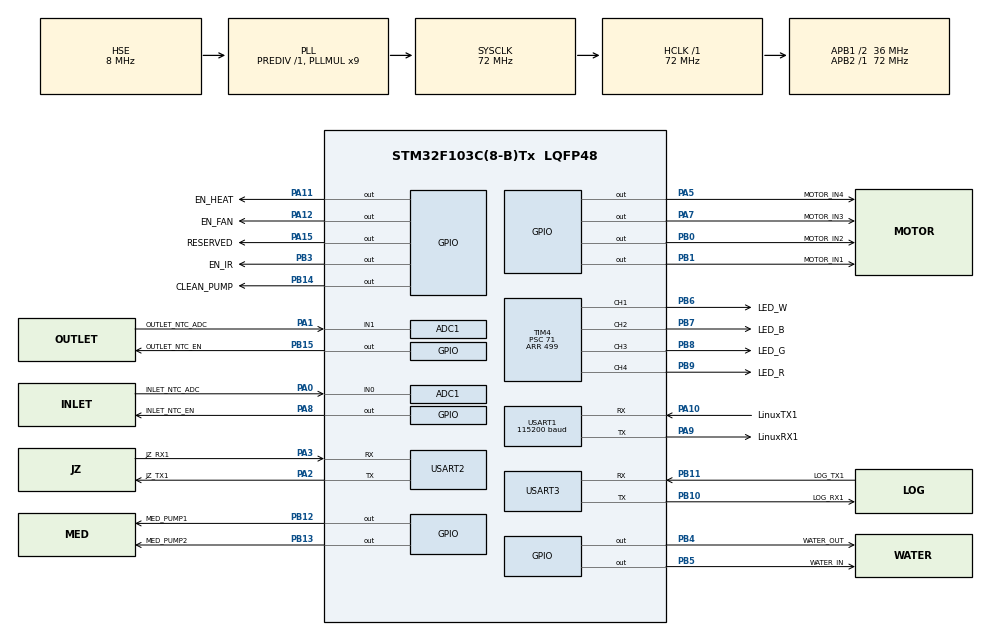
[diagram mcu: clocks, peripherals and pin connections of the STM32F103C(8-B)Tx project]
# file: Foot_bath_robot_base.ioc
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ADC1.Channel-0\#ChannelRegularConversion=ADC_CHANNEL_0
ADC1.Channel-1\#ChannelRegularConversion=ADC_CHANNEL_1
ADC1.ContinuousConvMode=ENABLE
ADC1.DataAlign=ADC_DATAALIGN_RIGHT
ADC1.NbrOfConversion=2
ADC1.NbrOfConversionFlag=1
ADC1.Rank-0\#ChannelRegularConversion=1
ADC1.Rank-1\#ChannelRegularConversion=2
ADC1.SamplingTime-0\#ChannelRegularConversion=ADC_SAMPLETIME_71CYCLES_5
ADC1.SamplingTime-1\#ChannelRegularConversion=ADC_SAMPLETIME_71CYCLES_5
ADC1.master=1
Dma.Request0=USART1_TX
Dma.Request1=USART2_TX
Dma.Request2=USART2_RX
Dma.Request3=USART3_TX
Dma.Request4=USART3_RX
Dma.Request5=ADC1
Dma.ADC1.5.Direction=DMA_PERIPH_TO_MEMORY
Dma.ADC1.5.Instance=DMA1_Channel1
Dma.ADC1.5.MemDataAlignment=DMA_MDATAALIGN_HALFWORD
Dma.ADC1.5.MemInc=DMA_MINC_ENABLE
Dma.ADC1.5.Mode=DMA_CIRCULAR
Dma.ADC1.5.PeriphDataAlignment=DMA_PDATAALIGN_HALFWORD
Dma.ADC1.5.PeriphInc=DMA_PINC_DISABLE
Dma.ADC1.5.Priority=DMA_PRIORITY_LOW
Dma.USART1_TX.0.Direction=DMA_MEMORY_TO_PERIPH
Dma.USART1_TX.0.Instance=DMA1_Channel4
Dma.USART1_TX.0.MemDataAlignment=DMA_MDATAALIGN_BYTE
Dma.USART1_TX.0.MemInc=DMA_MINC_ENABLE
Dma.USART1_TX.0.Mode=DMA_NORMAL
Dma.USART1_TX.0.PeriphDataAlignment=DMA_PDATAALIGN_BYTE
Dma.USART1_TX.0.PeriphInc=DMA_PINC_DISABLE
Dma.USART1_TX.0.Priority=DMA_PRIORITY_LOW
Dma.USART2_TX.1.Direction=DMA_MEMORY_TO_PERIPH
Dma.USART2_TX.1.Instance=DMA1_Channel7
Dma.USART2_TX.1.MemDataAlignment=DMA_MDATAALIGN_BYTE
Dma.USART2_TX.1.MemInc=DMA_MINC_ENABLE
Dma.USART2_TX.1.Mode=DMA_NORMAL
Dma.USART2_TX.1.PeriphDataAlignment=DMA_PDATAALIGN_BYTE
Dma.USART2_TX.1.PeriphInc=DMA_PINC_DISABLE
Dma.USART2_TX.1.Priority=DMA_PRIORITY_LOW
Dma.USART2_RX.2.Direction=DMA_PERIPH_TO_MEMORY
Dma.USART2_RX.2.Instance=DMA1_Channel6
Dma.USART2_RX.2.MemDataAlignment=DMA_MDATAALIGN_BYTE
Dma.USART2_RX.2.MemInc=DMA_MINC_ENABLE
Dma.USART2_RX.2.Mode=DMA_CIRCULAR
Dma.USART2_RX.2.PeriphDataAlignment=DMA_PDATAALIGN_BYTE
Dma.USART2_RX.2.PeriphInc=DMA_PINC_DISABLE
Dma.USART2_RX.2.Priority=DMA_PRIORITY_LOW
Dma.USART3_TX.3.Direction=DMA_MEMORY_TO_PERIPH
Dma.USART3_TX.3.Instance=DMA1_Channel2
Dma.USART3_TX.3.MemDataAlignment=DMA_MDATAALIGN_BYTE
Dma.USART3_TX.3.MemInc=DMA_MINC_ENABLE
Dma.USART3_TX.3.Mode=DMA_NORMAL
Dma.USART3_TX.3.PeriphDataAlignment=DMA_PDATAALIGN_BYTE
Dma.USART3_TX.3.PeriphInc=DMA_PINC_DISABLE
Dma.USART3_TX.3.Priority=DMA_PRIORITY_LOW
Dma.USART3_RX.4.Direction=DMA_PERIPH_TO_MEMORY
Dma.USART3_RX.4.Instance=DMA1_Channel3
Dma.USART3_RX.4.MemDataAlignment=DMA_MDATAALIGN_BYTE
Dma.USART3_RX.4.MemInc=DMA_MINC_ENABLE
Dma.USART3_RX.4.Mode=DMA_CIRCULAR
Dma.USART3_RX.4.PeriphDataAlignment=DMA_PDATAALIGN_BYTE
Dma.USART3_RX.4.PeriphInc=DMA_PINC_DISABLE
Dma.USART3_RX.4.Priority=DMA_PRIORITY_LOW
FREERTOS.Tasks01=BaseMotorTask,24,256,BaseMotor_Task,Default,NULL,Dynamic,NULL,NULL;BaseCommTask,24,256,BaseComm_Task,Default,NULL,Dynamic,NULL,NULL;BaseLogTask,8,512,BaseLog_Task,Default,NULL,Dynamic,NULL,NULL;BaseStateTask,40,256,BaseState_Task,Default,NULL,Dynamic,NULL,NULL
FREERTOS.configTOTAL_HEAP_SIZE=10240
Mcu.Family=STM32F1
Mcu.Name=STM32F103C(8-B)Tx
Mcu.Package=LQFP48
NVIC.DMA1_Channel1_IRQn=true\:6\:0\:true\:false\:true\:true\:false\:true\:true
NVIC.DMA1_Channel2_IRQn=true\:6\:0\:true\:false\:true\:true\:false\:true\:true
NVIC.DMA1_Channel3_IRQn=true\:6\:0\:true\:false\:true\:true\:false\:true\:true
NVIC.DMA1_Channel4_IRQn=true\:6\:0\:true\:false\:true\:true\:false\:true\:true
NVIC.DMA1_Channel6_IRQn=true\:6\:0\:true\:false\:true\:true\:false\:true\:true
NVIC.DMA1_Channel7_IRQn=true\:6\:0\:true\:false\:true\:true\:false\:true\:true
NVIC.PriorityGroup=NVIC_PRIORITYGROUP_4
NVIC.TIM2_IRQn=true\:15\:0\:false\:false\:true\:false\:false\:true\:true
NVIC.TIM3_IRQn=true\:6\:0\:true\:false\:true\:true\:true\:true\:true
NVIC.TimeBase=TIM2_IRQn
NVIC.TimeBaseIP=TIM2
NVIC.USART1_IRQn=true\:5\:0\:true\:false\:true\:true\:true\:true\:true
NVIC.USART2_IRQn=true\:5\:0\:true\:false\:true\:true\:true\:true\:true
NVIC.USART3_IRQn=true\:6\:0\:true\:false\:true\:true\:true\:true\:true
PA1.GPIO_Label=OUTLET_NTC_ADC
PA1.Signal=ADCx_IN1
PA0.GPIO_Label=INLET_NTC_ADC
PA0.Signal=ADCx_IN0
PA10.GPIO_Label=LinuxTX1
PA10.Mode=Asynchronous
PA10.Signal=USART1_RX
PA11.GPIO_Label=EN_HEAT
PA11.GPIO_Speed=GPIO_SPEED_FREQ_MEDIUM
PA11.Signal=GPIO_Output
PA12.GPIO_Label=EN_FAN
PA12.GPIO_Speed=GPIO_SPEED_FREQ_MEDIUM
PA12.Signal=GPIO_Output
PA13.Mode=Serial_Wire
PA13.Signal=SYS_JTMS-SWDIO
PA14.Mode=Serial_Wire
PA14.Signal=SYS_JTCK-SWCLK
PA15.GPIO_Label=RESERVED
PA15.GPIO_Speed=GPIO_SPEED_FREQ_MEDIUM
PA15.Signal=GPIO_Output
PA2.GPIO_Label=JZ_TX1
PA2.Mode=Asynchronous
PA2.Signal=USART2_TX
PA3.GPIO_Label=JZ_RX1
PA3.Mode=Asynchronous
PA3.Signal=USART2_RX
PA5.GPIO_Label=MOTOR_IN4
PA5.GPIO_Speed=GPIO_SPEED_FREQ_LOW
PA5.Signal=GPIO_Output
PA7.GPIO_Label=MOTOR_IN3
PA7.GPIO_Speed=GPIO_SPEED_FREQ_LOW
PA7.Signal=GPIO_Output
PA8.GPIO_Label=INLET_NTC_EN
PA8.GPIO_Speed=GPIO_SPEED_FREQ_MEDIUM
PA8.Signal=GPIO_Output
PA9.GPIO_Label=LinuxRX1
PA9.Mode=Asynchronous
PA9.Signal=USART1_TX
PB0.GPIO_Label=MOTOR_IN2
PB0.GPIO_Speed=GPIO_SPEED_FREQ_LOW
PB0.Signal=GPIO_Output
PB1.GPIO_Label=MOTOR_IN1
PB1.GPIO_Speed=GPIO_SPEED_FREQ_LOW
PB1.Signal=GPIO_Output
PB10.GPIO_Label=LOG_RX1
PB10.Mode=Asynchronous
PB10.Signal=USART3_TX
PB11.GPIO_Label=LOG_TX1
PB11.Mode=Asynchronous
PB11.Signal=USART3_RX
PB12.GPIO_Label=MED_PUMP1
PB12.GPIO_Speed=GPIO_SPEED_FREQ_MEDIUM
PB12.Signal=GPIO_Output
PB13.GPIO_Label=MED_PUMP2
PB13.GPIO_Speed=GPIO_SPEED_FREQ_MEDIUM
PB13.Signal=GPIO_Output
PB14.GPIO_Label=CLEAN_PUMP
PB14.GPIO_Speed=GPIO_SPEED_FREQ_MEDIUM
PB14.Signal=GPIO_Output
PB15.GPIO_Label=OUTLET_NTC_EN
PB15.GPIO_Speed=GPIO_SPEED_FREQ_MEDIUM
PB15.Signal=GPIO_Output
PB3.GPIO_Label=EN_IR
PB3.GPIO_Speed=GPIO_SPEED_FREQ_MEDIUM
PB3.Signal=GPIO_Output
PB4.GPIO_Label=WATER_OUT
PB4.GPIO_Speed=GPIO_SPEED_FREQ_MEDIUM
PB4.Signal=GPIO_Output
PB5.GPIO_Label=WATER_IN
PB5.GPIO_Speed=GPIO_SPEED_FREQ_MEDIUM
PB5.Signal=GPIO_Output
PB6.GPIO_Label=LED_W
PB6.Signal=S_TIM4_CH1
PB7.GPIO_Label=LED_B
PB7.Signal=S_TIM4_CH2
PB8.GPIO_Label=LED_G
PB8.Signal=S_TIM4_CH3
PB9.GPIO_Label=LED_R
PB9.Signal=S_TIM4_CH4
PD0-OSC_IN.Mode=HSE-External-Oscillator
PD0-OSC_IN.Signal=RCC_OSC_IN
PD1-OSC_OUT.Mode=HSE-External-Oscillator
PD1-OSC_OUT.Signal=RCC_OSC_OUT
ProjectManager.HeapSize=0x200
ProjectManager.StackSize=0x400
ProjectManager.TargetToolchain=MDK-ARM V5.32
RCC.ADCPresc=RCC_ADCPCLK2_DIV6
RCC.AHBFreq_Value=72000000
RCC.APB1CLKDivider=RCC_HCLK_DIV2
RCC.APB1Freq_Value=36000000
RCC.APB1TimFreq_Value=72000000
RCC.APB2Freq_Value=72000000
RCC.APB2TimFreq_Value=72000000
RCC.HCLKFreq_Value=72000000
RCC.PLLMUL=RCC_PLL_MUL9
RCC.PLLSourceVirtual=RCC_PLLSOURCE_HSE
RCC.SYSCLKFreq_VALUE=72000000
RCC.SYSCLKSource=RCC_SYSCLKSOURCE_PLLCLK
RCC.USBFreq_Value=72000000
SH.ADCx_IN0.0=ADC1_IN0,IN0
SH.ADCx_IN1.0=ADC1_IN1,IN1
SH.S_TIM4_CH1.0=TIM4_CH1,PWM Generation1 CH1
SH.S_TIM4_CH2.0=TIM4_CH2,PWM Generation2 CH2
SH.S_TIM4_CH3.0=TIM4_CH3,PWM Generation3 CH3
SH.S_TIM4_CH4.0=TIM4_CH4,PWM Generation4 CH4
TIM3.Period=2999
TIM3.Prescaler=71
TIM4.Channel-PWM\ Generation1\ CH1=TIM_CHANNEL_1
TIM4.Channel-PWM\ Generation2\ CH2=TIM_CHANNEL_2
TIM4.Channel-PWM\ Generation3\ CH3=TIM_CHANNEL_3
TIM4.Channel-PWM\ Generation4\ CH4=TIM_CHANNEL_4
TIM4.Period=499
TIM4.Prescaler=71
USART1.BaudRate=115200
USART1.VirtualMode=VM_ASYNC
USART2.VirtualMode=VM_ASYNC
USART3.VirtualMode=VM_ASYNC
VP_FREERTOS_VS_CMSIS_V2.Mode=CMSIS_V2
VP_SYS_VS_tim2.Mode=TIM2
board=custom

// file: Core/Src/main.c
/* USER CODE BEGIN Header */
/**
  ******************************************************************************
  * @file           : main.c
  * @brief          : Main program body
  ******************************************************************************
  * @attention
  *
  * Copyright (c) 2026 STMicroelectronics.
  * All rights reserved.
  *
  * This software is licensed under terms that can be found in the LICENSE file
  * in the root directory of this software component.
  * If no LICENSE file comes with this software, it is provided AS-IS.
  *
  ******************************************************************************
  */
/* USER CODE END Header */
/* 头文件 --------------------------------------------------------------------*/
#include "main.h"
#include "cmsis_os.h"
#include "adc.h"
#include "dma.h"
#include "tim.h"
#include "usart.h"
#include "gpio.h"

/* 私有头文件 ----------------------------------------------------------------*/
/* USER CODE BEGIN Includes */
#include "motor_control.h"

/* USER CODE END Includes */

/* 私有类型定义 --------------------------------------------------------------*/

/* 私有宏定义 ----------------------------------------------------------------*/

/* 私有宏 --------------------------------------------------------------------*/

/* 私有变量 ------------------------------------------------------------------*/

/* 私有函数声明 --------------------------------------------------------------*/
void SystemClock_Config(void);
void MX_FREERTOS_Init(void);

/* 私有用户代码 --------------------------------------------------------------*/

int main(void)
{

  /* MCU 配置 -----------------------------------------------------------------*/

  /* 复位全部外设，并初始化 Flash 接口和系统节拍。 */
  HAL_Init();

  /* USER CODE BEGIN Init */
	__HAL_AFIO_REMAP_SWJ_NOJTAG();
  /* USER CODE END Init */

  /* 配置系统时钟。 */
  SystemClock_Config();

  /* 初始化全部已配置外设。 */
  MX_GPIO_Init();
  MX_DMA_Init();
  MX_ADC1_Init();
  MX_USART1_UART_Init();
  MX_USART2_UART_Init();
  MX_USART3_UART_Init();
  MX_TIM3_Init();
  MX_TIM4_Init();

  /* Init scheduler */
  osKernelInitialize();  /* 初始化 CMSIS-RTOS2 内核对象。 */
  MX_FREERTOS_Init();

  /* 启动任务调度器。 */
  osKernelStart();

  /* 调度器启动后不应再执行到此处。 */

  /* 任务循环。 */
  while (1)
  {

  }
}

void SystemClock_Config(void)
{
  RCC_OscInitTypeDef RCC_OscInitStruct = {0};
  RCC_ClkInitTypeDef RCC_ClkInitStruct = {0};
  RCC_PeriphCLKInitTypeDef PeriphClkInit = {0};

  /** Initializes the RCC Oscillators according to the specified parameters
  * in the RCC_OscInitTypeDef structure.
  */
  RCC_OscInitStruct.OscillatorType = RCC_OSCILLATORTYPE_HSE;
  RCC_OscInitStruct.HSEState = RCC_HSE_ON;
  RCC_OscInitStruct.HSEPredivValue = RCC_HSE_PREDIV_DIV1;
  RCC_OscInitStruct.HSIState = RCC_HSI_ON;
  RCC_OscInitStruct.PLL.PLLState = RCC_PLL_ON;
  RCC_OscInitStruct.PLL.PLLSource = RCC_PLLSOURCE_HSE;
  RCC_OscInitStruct.PLL.PLLMUL = RCC_PLL_MUL9;
  if (HAL_RCC_OscConfig(&RCC_OscInitStruct) != HAL_OK)
  {
    Error_Handler();
  }

  /** Initializes the CPU, AHB and APB buses clocks
  */
  RCC_ClkInitStruct.ClockType = RCC_CLOCKTYPE_HCLK|RCC_CLOCKTYPE_SYSCLK
                              |RCC_CLOCKTYPE_PCLK1|RCC_CLOCKTYPE_PCLK2;
  RCC_ClkInitStruct.SYSCLKSource = RCC_SYSCLKSOURCE_PLLCLK;
  RCC_ClkInitStruct.AHBCLKDivider = RCC_SYSCLK_DIV1;
  RCC_ClkInitStruct.APB1CLKDivider = RCC_HCLK_DIV2;
  RCC_ClkInitStruct.APB2CLKDivider = RCC_HCLK_DIV1;

  if (HAL_RCC_ClockConfig(&RCC_ClkInitStruct, FLASH_LATENCY_2) != HAL_OK)
  {
    Error_Handler();
  }

  /* ADC1 时钟为 APB2 / 6 = 12 MHz，低于 STM32F103 的 14 MHz 上限。 */
  PeriphClkInit.PeriphClockSelection = RCC_PERIPHCLK_ADC;
  PeriphClkInit.AdcClockSelection = RCC_ADCPCLK2_DIV6;
  if (HAL_RCCEx_PeriphCLKConfig(&PeriphClkInit) != HAL_OK)
  {
    Error_Handler();
  }
}

void HAL_TIM_PeriodElapsedCallback(TIM_HandleTypeDef *htim)
{
  if (htim->Instance == TIM2)
  {
    HAL_IncTick();
  }
  /* USER CODE BEGIN Callback 1 */
  else if (htim->Instance == TIM3)
  {
    Motor_StepTimerElapsed();
  }

  /* USER CODE END Callback 1 */
}

void Error_Handler(void)
{
  /* USER CODE BEGIN Error_Handler_Debug */
  /* 用户可在此补充 HAL 错误状态的上报或保护处理。 */
  __disable_irq();
  while (1)
  {
  }
  /* USER CODE END Error_Handler_Debug */
}

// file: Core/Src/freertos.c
/* USER CODE BEGIN Header */
/**
  ******************************************************************************
  * File Name          : freertos.c
  * Description        : Code for freertos applications
  ******************************************************************************
  * @attention
  *
  * Copyright (c) 2026 STMicroelectronics.
  * All rights reserved.
  *
  * This software is licensed under terms that can be found in the LICENSE file
  * in the root directory of this software component.
  * If no LICENSE file comes with this software, it is provided AS-IS.
  *
  ******************************************************************************
  */
/* USER CODE END Header */

/* 头文件 --------------------------------------------------------------------*/
#include "FreeRTOS.h"
#include "task.h"
#include "main.h"
#include "cmsis_os.h"

/* 私有头文件 ----------------------------------------------------------------*/
/* USER CODE BEGIN Includes */
#include "color_light.h"
#include "motor_control.h"
#include "ntc_sensor.h"
#include "uart_comm.h"
#include "log.h"
#include "system_monitor.h"

/* USER CODE END Includes */

/* 私有类型定义 --------------------------------------------------------------*/

/* 私有宏定义 ----------------------------------------------------------------*/

/* 私有宏 --------------------------------------------------------------------*/

/* 私有变量 ------------------------------------------------------------------*/
/* Definitions for BaseMotorTask */
osThreadId_t BaseMotorTaskHandle;
const osThreadAttr_t BaseMotorTask_attributes = {
  .name = "BaseMotor",
  .stack_size = 256 * 4,
  .priority = (osPriority_t) osPriorityNormal,
};
/* Definitions for BaseCommTask */
osThreadId_t BaseCommTaskHandle;
const osThreadAttr_t BaseCommTask_attributes = {
  .name = "BaseComm",
  .stack_size = 256 * 4,
  .priority = (osPriority_t) osPriorityNormal,
};
/* Definitions for BaseLogTask */
osThreadId_t BaseLogTaskHandle;
const osThreadAttr_t BaseLogTask_attributes = {
  .name = "BaseLog",
  .stack_size = 512 * 4,
  .priority = (osPriority_t) osPriorityLow,
};
/* Definitions for BaseStateTask */
osThreadId_t BaseStateTaskHandle;
const osThreadAttr_t BaseStateTask_attributes = {
  .name = "BaseState",
  .stack_size = 256 * 4,
  .priority = (osPriority_t) osPriorityHigh,
};

/* 私有函数声明 --------------------------------------------------------------*/

void BaseMotor_Task(void *argument);
void BaseComm_Task(void *argument);
void BaseLog_Task(void *argument);
void BaseState_Task(void *argument);

void MX_FREERTOS_Init(void); /* (MISRA C 2004 rule 8.1) */

void MX_FREERTOS_Init(void) {
  /* USER CODE BEGIN Init */
  /*
   * 基站业务模块初始化顺序：
   *   1. 灯带和喷淋电机先初始化，确保 PWM 输出处于可控状态；
   *   2. 状态机关闭所有执行器，建立待机/上电状态；
   *   3. 日志和串口通信最后启动，便于打印后续运行状态。
   */
  ColorLight_Init();
  Motor_Init();
  NTC_Sensor_Init();
  SystemMonitor_Init();
  Logging_Init();
  UART_Comm_Init();

  /* USER CODE END Init */

  /* USER CODE BEGIN RTOS_MUTEX */
  /* 可在此添加互斥量。 */
  /* USER CODE END RTOS_MUTEX */

  /* USER CODE BEGIN RTOS_SEMAPHORES */
  /* 可在此添加信号量。 */
  /* USER CODE END RTOS_SEMAPHORES */

  /* USER CODE BEGIN RTOS_TIMERS */
  /* 可在此启动或添加软件定时器。 */
  /* USER CODE END RTOS_TIMERS */

  /* USER CODE BEGIN RTOS_QUEUES */
  /* 可在此添加消息队列。 */
  /* USER CODE END RTOS_QUEUES */

  /* 创建任务。 */
  /* creation of BaseMotorTask */
  BaseMotorTaskHandle = osThreadNew(BaseMotor_Task, NULL, &BaseMotorTask_attributes);

  /* creation of BaseCommTask */
  BaseCommTaskHandle = osThreadNew(BaseComm_Task, NULL, &BaseCommTask_attributes);

  /* creation of BaseLogTask */
  BaseLogTaskHandle = osThreadNew(BaseLog_Task, NULL, &BaseLogTask_attributes);

  /* creation of BaseStateTask */
  BaseStateTaskHandle = osThreadNew(BaseState_Task, NULL, &BaseStateTask_attributes);

  /* USER CODE BEGIN RTOS_THREADS */
  /* 可在此添加任务。 */
  /* USER CODE END RTOS_THREADS */

  /* USER CODE BEGIN RTOS_EVENTS */
  /* 可在此添加事件。 */
  /* USER CODE END RTOS_EVENTS */

}

void BaseMotor_Task(void *argument)
{
  /* USER CODE BEGIN BaseMotor_Task */
  /* 喷淋电机维护及两路 NTC 诊断滤波，均不阻塞业务状态机。 */
  for(;;)
  {
    Motor_TaskProcess();
    NTC_Sensor_TaskProcess();
    osDelay(20);
  }
  /* USER CODE END BaseMotor_Task */
}

void BaseComm_Task(void *argument)
{
  /* USER CODE BEGIN BaseComm_Task */
  /* 桶体协议解析、液位接收和状态帧上报。 */
  for(;;)
  {
    UART_Comm_TaskProcess();
    osDelay(50);
  }
  /* USER CODE END BaseComm_Task */
}

void BaseLog_Task(void *argument)
{
  /* USER CODE BEGIN BaseLog_Task */
  /* 周期性输出基站状态日志到 USART1。 */
  for(;;)
  {
    Logging_TaskProcess();
    osDelay(1000);
  }
  /* USER CODE END BaseLog_Task */
}

void BaseState_Task(void *argument)
{
  /* USER CODE BEGIN BaseState_Task */
  /* 基站自动清洁/排水/喷淋/烘干状态机。 */
  for(;;)
  {
    SystemMonitor_TaskProcess();
    osDelay(50);
  }
  /* USER CODE END BaseState_Task */
}

/* USER CODE BEGIN Application */
void vApplicationStackOverflowHook(TaskHandle_t xTask, char *pcTaskName)
{
  (void)xTask;
  (void)pcTaskName;
  taskDISABLE_INTERRUPTS();
  for (;;)
  {
  }
}

void vApplicationMallocFailedHook(void)
{
  taskDISABLE_INTERRUPTS();
  for (;;)
  {
  }
}
/* USER CODE END Application */
